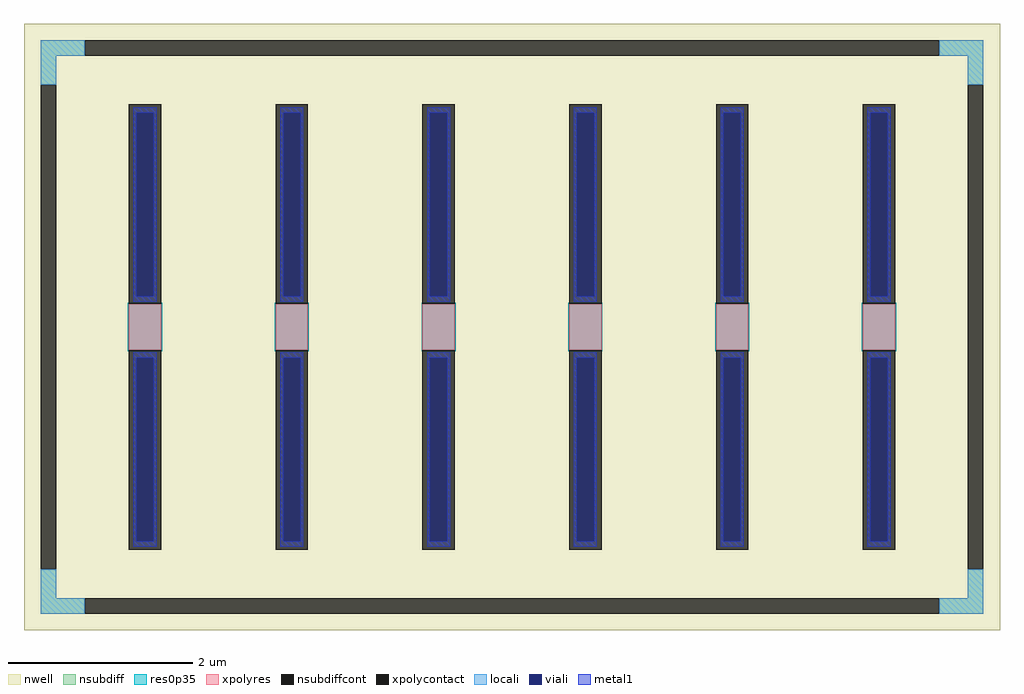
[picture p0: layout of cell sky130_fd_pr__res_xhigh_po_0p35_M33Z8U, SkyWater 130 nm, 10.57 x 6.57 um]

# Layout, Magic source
magic
tech sky130B
magscale 1 2
<< nwell >>
rect -1057 -657 1057 657
<< nsubdiff >>
rect -1021 587 -925 621
rect 925 587 1021 621
rect -1021 525 -987 587
rect 987 525 1021 587
rect -1021 -587 -987 -525
rect 987 -587 1021 -525
rect -1021 -621 -925 -587
rect 925 -621 1021 -587
<< nsubdiffcont >>
rect -925 587 925 621
rect -1021 -525 -987 525
rect 987 -525 1021 525
rect -925 -621 925 -587
<< xpolycontact >>
rect -830 50 -760 482
rect -830 -482 -760 -50
rect -512 50 -442 482
rect -512 -482 -442 -50
rect -194 50 -124 482
rect -194 -482 -124 -50
rect 124 50 194 482
rect 124 -482 194 -50
rect 442 50 512 482
rect 442 -482 512 -50
rect 760 50 830 482
rect 760 -482 830 -50
<< xpolyres >>
rect -830 -50 -760 50
rect -512 -50 -442 50
rect -194 -50 -124 50
rect 124 -50 194 50
rect 442 -50 512 50
rect 760 -50 830 50
<< locali >>
rect -1021 587 -925 621
rect 925 587 1021 621
rect -1021 525 -987 587
rect 987 525 1021 587
rect -1021 -587 -987 -525
rect 987 -587 1021 -525
rect -1021 -621 -925 -587
rect 925 -621 1021 -587
<< viali >>
rect -814 67 -776 464
rect -496 67 -458 464
rect -178 67 -140 464
rect 140 67 178 464
rect 458 67 496 464
rect 776 67 814 464
rect -814 -464 -776 -67
rect -496 -464 -458 -67
rect -178 -464 -140 -67
rect 140 -464 178 -67
rect 458 -464 496 -67
rect 776 -464 814 -67
<< metal1 >>
rect -820 464 -770 476
rect -820 67 -814 464
rect -776 67 -770 464
rect -820 55 -770 67
rect -502 464 -452 476
rect -502 67 -496 464
rect -458 67 -452 464
rect -502 55 -452 67
rect -184 464 -134 476
rect -184 67 -178 464
rect -140 67 -134 464
rect -184 55 -134 67
rect 134 464 184 476
rect 134 67 140 464
rect 178 67 184 464
rect 134 55 184 67
rect 452 464 502 476
rect 452 67 458 464
rect 496 67 502 464
rect 452 55 502 67
rect 770 464 820 476
rect 770 67 776 464
rect 814 67 820 464
rect 770 55 820 67
rect -820 -67 -770 -55
rect -820 -464 -814 -67
rect -776 -464 -770 -67
rect -820 -476 -770 -464
rect -502 -67 -452 -55
rect -502 -464 -496 -67
rect -458 -464 -452 -67
rect -502 -476 -452 -464
rect -184 -67 -134 -55
rect -184 -464 -178 -67
rect -140 -464 -134 -67
rect -184 -476 -134 -464
rect 134 -67 184 -55
rect 134 -464 140 -67
rect 178 -464 184 -67
rect 134 -476 184 -464
rect 452 -67 502 -55
rect 452 -464 458 -67
rect 496 -464 502 -67
rect 452 -476 502 -464
rect 770 -67 820 -55
rect 770 -464 776 -67
rect 814 -464 820 -67
rect 770 -476 820 -464
<< res0p35 >>
rect -832 -52 -758 52
rect -514 -52 -440 52
rect -196 -52 -122 52
rect 122 -52 196 52
rect 440 -52 514 52
rect 758 -52 832 52
<< properties >>
string FIXED_BBOX -1004 -604 1004 604
string gencell sky130_fd_pr__res_xhigh_po_0p35
string library sky130
string parameters w 0.350 l 0.50 m 1 nx 6 wmin 0.350 lmin 0.50 rho 2000 val 3.932k dummy 0 dw 0.0 term 188.2 sterm 0.0 caplen 0 wmax 0.350 guard 1 glc 1 grc 1 gtc 1 gbc 1 compatible {sky130_fd_pr__res_xhigh_po_0p35  sky130_fd_pr__res_xhigh_po_0p69 sky130_fd_pr__res_xhigh_po_1p41  sky130_fd_pr__res_xhigh_po_2p85 sky130_fd_pr__res_xhigh_po_5p73} full_metal 1 n_guard 1 hv_guard 0 vias 1 viagb 0 viagt 0 viagl 0 viagr 0
<< end >>
